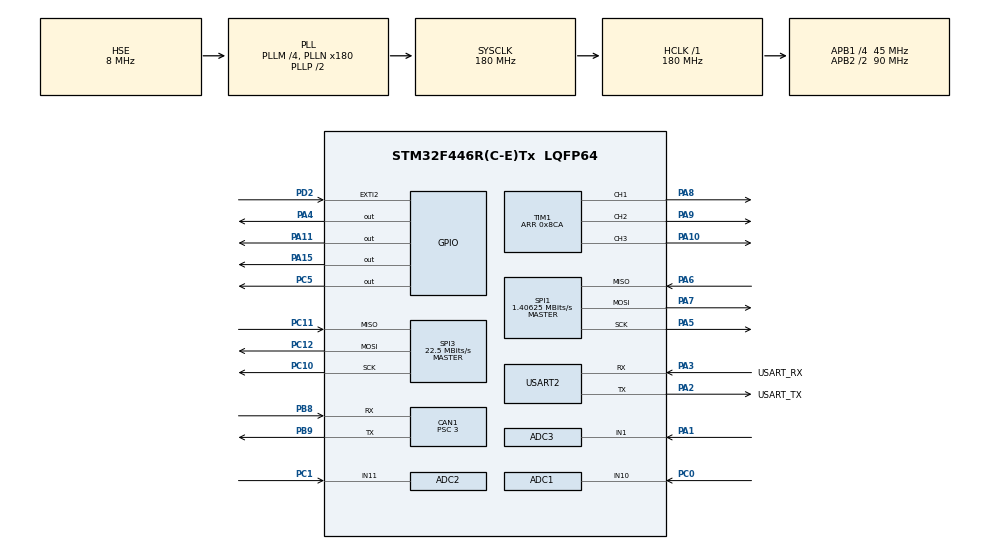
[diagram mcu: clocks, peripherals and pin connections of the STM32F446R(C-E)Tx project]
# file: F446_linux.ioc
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ADC1.Channel-0\#ChannelRegularConversion=ADC_CHANNEL_10
ADC1.Mode=ADC_TRIPLEMODE_REGSIMULT
ADC1.NbrOfConversionFlag=1
ADC1.Rank-0\#ChannelRegularConversion=1
ADC1.SamplingTime-0\#ChannelRegularConversion=ADC_SAMPLETIME_3CYCLES
ADC1.master=1
ADC2.Channel-0\#ChannelRegularConversion=ADC_CHANNEL_11
ADC2.Mode=ADC_TRIPLEMODE_REGSIMULT
ADC2.NbrOfConversionFlag=1
ADC2.Rank-0\#ChannelRegularConversion=1
ADC2.SamplingTime-0\#ChannelRegularConversion=ADC_SAMPLETIME_3CYCLES
ADC3.Channel-4\#ChannelRegularConversion=ADC_CHANNEL_1
ADC3.NbrOfConversionFlag=1
ADC3.Rank-4\#ChannelRegularConversion=1
ADC3.SamplingTime-4\#ChannelRegularConversion=ADC_SAMPLETIME_3CYCLES
CAN1.BS1=CAN_BS1_12TQ
CAN1.BS2=CAN_BS2_2TQ
CAN1.CalculateBaudRate=1000000
CAN1.CalculateTimeBit=1000
CAN1.CalculateTimeQuantum=66.66666666666666
CAN1.Mode=CAN_MODE_NORMAL
CAN1.Prescaler=3
Mcu.Family=STM32F4
Mcu.Name=STM32F446R(C-E)Tx
Mcu.Package=LQFP64
NVIC.CAN1_RX0_IRQn=true\:0\:0\:false\:false\:true\:true\:true\:true
NVIC.CAN1_RX1_IRQn=true\:0\:0\:false\:false\:true\:true\:true\:true
NVIC.EXTI2_IRQn=true\:0\:0\:false\:false\:true\:true\:true\:true
NVIC.PriorityGroup=NVIC_PRIORITYGROUP_4
NVIC.TIM1_UP_TIM10_IRQn=true\:0\:0\:false\:false\:true\:true\:true\:true
NVIC.USART2_IRQn=true\:0\:0\:false\:false\:true\:true\:true\:true
PA1.Signal=ADCx_IN1
PA10.GPIO_Speed=GPIO_SPEED_FREQ_VERY_HIGH
PA10.Signal=S_TIM1_CH3
PA11.GPIO_Speed=GPIO_SPEED_FREQ_VERY_HIGH
PA11.Signal=GPIO_Output
PA13.GPIO_Label=TMS
PA13.Mode=Serial_Wire
PA13.Signal=SYS_JTMS-SWDIO
PA14.GPIO_Label=TCK
PA14.Mode=Serial_Wire
PA14.Signal=SYS_JTCK-SWCLK
PA15.GPIO_Speed=GPIO_SPEED_FREQ_VERY_HIGH
PA15.Signal=GPIO_Output
PA2.GPIO_Label=USART_TX
PA2.Mode=Asynchronous
PA2.Signal=USART2_TX
PA3.GPIO_Label=USART_RX
PA3.Mode=Asynchronous
PA3.Signal=USART2_RX
PA4.GPIO_Speed=GPIO_SPEED_FREQ_VERY_HIGH
PA4.Signal=GPIO_Output
PA5.Mode=Full_Duplex_Master
PA5.Signal=SPI1_SCK
PA6.Mode=Full_Duplex_Master
PA6.Signal=SPI1_MISO
PA7.Mode=Full_Duplex_Master
PA7.Signal=SPI1_MOSI
PA8.GPIO_Speed=GPIO_SPEED_FREQ_VERY_HIGH
PA8.Signal=S_TIM1_CH1
PA9.GPIO_Speed=GPIO_SPEED_FREQ_VERY_HIGH
PA9.Signal=S_TIM1_CH2
PB8.Mode=CAN_Activate
PB8.Signal=CAN1_RX
PB9.Mode=CAN_Activate
PB9.Signal=CAN1_TX
PC0.Signal=ADCx_IN10
PC1.Signal=ADCx_IN11
PC10.Mode=Full_Duplex_Master
PC10.Signal=SPI3_SCK
PC11.Mode=Full_Duplex_Master
PC11.Signal=SPI3_MISO
PC12.Mode=Full_Duplex_Master
PC12.Signal=SPI3_MOSI
PC5.GPIO_Speed=GPIO_SPEED_FREQ_VERY_HIGH
PC5.Signal=GPIO_Output
PD2.GPIO_ModeDefaultEXTI=GPIO_MODE_IT_FALLING
PD2.GPIO_PuPd=GPIO_PULLUP
PD2.Signal=GPXTI2
PH0-OSC_IN.Mode=HSE-External-Oscillator
PH0-OSC_IN.Signal=RCC_OSC_IN
PH1-OSC_OUT.Mode=HSE-External-Oscillator
PH1-OSC_OUT.Signal=RCC_OSC_OUT
ProjectManager.HeapSize=0x200
ProjectManager.StackSize=0x400
ProjectManager.TargetToolchain=CMake
RCC.AHBFreq_Value=180000000
RCC.APB1CLKDivider=RCC_HCLK_DIV4
RCC.APB1Freq_Value=45000000
RCC.APB1TimFreq_Value=90000000
RCC.APB2CLKDivider=RCC_HCLK_DIV2
RCC.APB2Freq_Value=90000000
RCC.APB2TimFreq_Value=180000000
RCC.CortexFreq_Value=180000000
RCC.HCLKFreq_Value=180000000
RCC.HSE_VALUE=8000000
RCC.PLLM=4
RCC.PLLN=180
RCC.PLLSourceVirtual=RCC_PLLSOURCE_HSE
RCC.SYSCLKFreq_VALUE=180000000
RCC.SYSCLKSource=RCC_SYSCLKSOURCE_PLLCLK
RCC.USBFreq_Value=180000000
RCC.VCOOutputFreq_Value=360000000
SH.ADCx_IN1.0=ADC3_IN1,IN1
SH.ADCx_IN10.0=ADC1_IN10,IN10
SH.ADCx_IN11.0=ADC2_IN11,IN11
SH.S_TIM1_CH1.0=TIM1_CH1,PWM Generation1 CH1
SH.S_TIM1_CH2.0=TIM1_CH2,PWM Generation2 CH2
SH.S_TIM1_CH3.0=TIM1_CH3,PWM Generation3 CH3
SPI1.BaudRatePrescaler=SPI_BAUDRATEPRESCALER_64
SPI1.CLKPhase=SPI_PHASE_2EDGE
SPI1.CalculateBaudRate=1.40625 MBits/s
SPI1.DataSize=SPI_DATASIZE_16BIT
SPI1.Direction=SPI_DIRECTION_2LINES
SPI1.Mode=SPI_MODE_MASTER
SPI1.VirtualType=VM_MASTER
SPI3.CalculateBaudRate=22.5 MBits/s
SPI3.DataSize=SPI_DATASIZE_16BIT
SPI3.Direction=SPI_DIRECTION_2LINES
SPI3.Mode=SPI_MODE_MASTER
SPI3.VirtualType=VM_MASTER
TIM1.AutoReloadPreload=TIM_AUTORELOAD_PRELOAD_ENABLE
TIM1.Channel-PWM\ Generation1\ CH1=TIM_CHANNEL_1
TIM1.Channel-PWM\ Generation2\ CH2=TIM_CHANNEL_2
TIM1.Channel-PWM\ Generation3\ CH3=TIM_CHANNEL_3
TIM1.CounterMode=TIM_COUNTERMODE_CENTERALIGNED1
TIM1.OCFastMode_PWM-PWM\ Generation1\ CH1=TIM_OCFAST_ENABLE
TIM1.OCFastMode_PWM-PWM\ Generation2\ CH2=TIM_OCFAST_ENABLE
TIM1.OCFastMode_PWM-PWM\ Generation3\ CH3=TIM_OCFAST_ENABLE
TIM1.OCPolarity_1=TIM_OCPOLARITY_LOW
TIM1.OCPolarity_2=TIM_OCPOLARITY_LOW
TIM1.OCPolarity_3=TIM_OCPOLARITY_LOW
TIM1.Period=0x8CA
TIM1.RepetitionCounter=1
USART2.VirtualMode=VM_ASYNC
VP_TIM1_VS_ClockSourceINT.Mode=Internal
board=custom

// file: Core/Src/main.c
/* USER CODE BEGIN Header */
/**
  ******************************************************************************
  * @file           : main.c
  * @brief          : Simple button press sends CAN message to computer
  ******************************************************************************
  */
/* USER CODE END Header */
#include "main.h"
#include "adc.h"
#include "can.h"
#include "spi.h"
#include "tim.h"
#include "usart.h"
#include "gpio.h"

/* USER CODE BEGIN Includes */
#include "structs.h"
#include <stdio.h>
#include <string.h>

#include "stm32f4xx_flash.h"
#include "flash_writer.h"
#include "position_sensor.h"
#include "preference_writer.h"
#include "hw_config.h"
#include "user_config.h"
#include "fsm.h"
#include "drv8353.h"
#include "foc.h"
#include "math_ops.h"
#include "calibration.h"
/* USER CODE END Includes */

/* USER CODE BEGIN PM */
#define VERSION_NUM 2.0f
/* USER CODE END PM */

/* USER CODE BEGIN PV */
/* Flash Registers */
float __float_reg[64];
int __int_reg[256];
PreferenceWriter prefs;

ControllerStruct controller;
ObserverStruct observer;
COMStruct com;
FSMStruct state;
EncoderStruct comm_encoder;
DRVStruct drv;
CalStruct comm_encoder_cal;
CANTxMessage can_tx;
CANRxMessage can_rx;

/* init but don't allocate calibration arrays */
int *error_array = NULL;
int *lut_array = NULL;

uint8_t Serial2RxBuffer[1];

/* USER CODE END PV */

void SystemClock_Config(void);

int main(void)
{

  /* MCU Configuration--------------------------------------------------------*/

  /* Reset of all peripherals, Initializes the Flash interface and the Systick. */
  HAL_Init();

  /* Configure the system clock */
  SystemClock_Config();

  /* Initialize all configured peripherals */
  MX_GPIO_Init();
  MX_USART2_UART_Init();
  MX_SPI3_Init();
  MX_CAN1_Init();
  MX_ADC1_Init();
  MX_ADC2_Init();
  MX_ADC3_Init();
  MX_SPI1_Init();
  MX_TIM1_Init();
  /* USER CODE BEGIN 2 */

  /* Load settings from flash */
  preference_writer_init(&prefs, 6);
  preference_writer_load(prefs);

  /* Sanitize configs in case flash is empty*/
  if(E_ZERO==-1){E_ZERO = 0;}
  if(M_ZERO==-1){M_ZERO = 0;}
  if(isnan(I_BW) || I_BW==-1){I_BW = 1000;}
  if(isnan(I_MAX) || I_MAX ==-1){I_MAX=40;}
  if(isnan(I_FW_MAX) || I_FW_MAX ==-1){I_FW_MAX=0;}
  if(CAN_ID==-1){CAN_ID = 1;}
  if(CAN_MASTER==-1){CAN_MASTER = 0;}
  if(CAN_TIMEOUT==-1){CAN_TIMEOUT = 1000;}
  if(isnan(R_NOMINAL) || R_NOMINAL==-1){R_NOMINAL = 0.0f;}
  if(isnan(TEMP_MAX) || TEMP_MAX==-1){TEMP_MAX = 125.0f;}
  if(isnan(I_MAX_CONT) || I_MAX_CONT==-1){I_MAX_CONT = 14.0f;}
  if(isnan(I_CAL)||I_CAL==-1){I_CAL = 2.0f;}
  I_CAL=5.0f;
  if(isnan(PPAIRS) || PPAIRS==-1){PPAIRS = 21.0f;}
  if(isnan(GR) || GR==-1){GR = 1.0f;}
  if(isnan(KT) || KT==-1){KT = 1.0f;}
  if(isnan(KP_MAX) || KP_MAX==-1){KP_MAX = 500.0f;}
  if(isnan(KD_MAX) || KD_MAX==-1){KD_MAX = 5.0f;}
  if(isnan(P_MAX)){P_MAX = 12.5f;}
  if(isnan(P_MIN)){P_MIN = -12.5f;}
  if(isnan(V_MAX)){V_MAX = 65.0f;}
  if(isnan(V_MIN)){V_MIN = -65.0f;}

  printf("\r\nFirmware Version Number: %.2f\r\n", VERSION_NUM);

  init_controller_params(&controller);
  /* calibration "encoder" zeroing */
  memset(&comm_encoder_cal.cal_position, 0, sizeof(EncoderStruct));

  /* commutation encoder setup */
  comm_encoder.m_zero = M_ZERO;
  comm_encoder.e_zero = E_ZERO;
  comm_encoder.ppairs = PPAIRS;

  if(EN_ENC_LINEARIZATION){memcpy(&comm_encoder.offset_lut, &ENCODER_LUT, sizeof(comm_encoder.offset_lut));}	// Copy the linearization lookup table
  else{memset(&comm_encoder.offset_lut, 0, sizeof(comm_encoder.offset_lut));}
  ps_warmup(&comm_encoder, 100);			// clear the noisy data when the encoder first turns on

  /* Turn on ADCs */
  HAL_ADC_Start(&hadc1);
  HAL_ADC_Start(&hadc2);
  HAL_ADC_Start(&hadc3);

  /* DRV8323 setup */
  HAL_GPIO_WritePin(DRV_CS, GPIO_PIN_SET ); 	// CS high
  HAL_GPIO_WritePin(ENABLE_PIN, GPIO_PIN_SET );
  HAL_Delay(1);
  drv_write_DCR(drv, 0x0, DIS_GDF_EN, 0x0, PWM_MODE_3X, 0x0, 0x0, 0x0, 0x0, 0x1);
  HAL_Delay(1);
  drv_write_HSR(drv, LOCK_OFF, IDRIVEP_HS_300MA, IDRIVEN_HS_200MA);
  HAL_Delay(1);
  drv_write_LSR(drv, 1, TDRIVE_1000NS, IDRIVEP_LS_850MA, IDRIVEN_LS_600MA);
  HAL_Delay(1);
  int CSA_GAIN;
  if(I_MAX <= 40.0f){CSA_GAIN = CSA_GAIN_40;}	// Up to 40A use 40X amplifier gain
  else{CSA_GAIN = CSA_GAIN_20;}					// From 40-60A use 20X amplifier gain.  (Make this generic in the future)
//  drv_write_CSACR(drv, 0x0, 0x1, 0x0, CSA_GAIN_40, 0x0, 0x1, 0x1, 0x1, SEN_LVL_0_25);
  drv_write_CSACR(drv, 0x0, 0x1, 0x0, CSA_GAIN, 0x1, 0x0, 0x0, 0x0, SEN_LVL_0_5);
  HAL_Delay(1);
  zero_current(&controller);
  HAL_Delay(1);
  drv_write_OCPCR(drv, TRETRY_8MS, DEADTIME_50NS, OCP_LATCH, OCP_DEG_4US, VDS_LVL_0_7);
  HAL_Delay(1);
  drv_disable_gd(drv);
  HAL_Delay(1);
  printf("ADC A OFFSET: %d     ADC B OFFSET: %d\r\n", controller.adc_a_offset, controller.adc_b_offset);

  /* Turn on PWM */
  HAL_TIM_PWM_Start(&htim1, TIM_CHANNEL_1);
  HAL_TIM_PWM_Start(&htim1, TIM_CHANNEL_2);
  HAL_TIM_PWM_Start(&htim1, TIM_CHANNEL_3);

  /* CAN setup */
  can_rx_init(&can_rx);
  can_tx_init(&can_tx);
  HAL_CAN_Start(&CAN_H); //  Start CAN peripheral

  /* Set Interrupt Priorities */
  HAL_NVIC_SetPriority(PWM_ISR, 0x0,0x0); // commutation > communication
  HAL_NVIC_SetPriority(CAN_ISR, 0x01, 0x01);

  uint16_t value1 = drv_read_register(drv, DCR);

  /* Start the FSM */
  state.state = MENU_MODE;
  state.next_state = MENU_MODE;
  state.ready = 1;

  /* Turn on interrupts */
  HAL_UART_Receive_IT(&huart2, (uint8_t *)Serial2RxBuffer, 1);
  HAL_TIM_Base_Start_IT(&htim1);

  /* USER CODE END 2 */

  /* Infinite loop */
  /* USER CODE BEGIN WHILE */
  drv_enable_gd(drv);
  uint16_t angle_reading;
  while (1)
  {
	  HAL_Delay(100);
	  drv_print_faults(drv);
//	  angle_reading = (uint16_t)comm_encoder.angle_singleturn;
//	  printf("angle: %d\r\n", angle_reading);
//	  printf("%.3f\n\r", controller.dtheta_mech);
    /* USER CODE END WHILE */

    /* USER CODE BEGIN 3 */

    // Main loop does nothing - everything happens in button interrupt

  }
  /* USER CODE END 3 */
}

void SystemClock_Config(void)
{
  RCC_OscInitTypeDef RCC_OscInitStruct = {0};
  RCC_ClkInitTypeDef RCC_ClkInitStruct = {0};

  /** Configure the main internal regulator output voltage
  */
  __HAL_RCC_PWR_CLK_ENABLE();
  __HAL_PWR_VOLTAGESCALING_CONFIG(PWR_REGULATOR_VOLTAGE_SCALE1);

  /** Initializes the RCC Oscillators according to the specified parameters
  * in the RCC_OscInitTypeDef structure.
  */
  RCC_OscInitStruct.OscillatorType = RCC_OSCILLATORTYPE_HSE;
  RCC_OscInitStruct.HSEState = RCC_HSE_ON;
  RCC_OscInitStruct.PLL.PLLState = RCC_PLL_ON;
  RCC_OscInitStruct.PLL.PLLSource = RCC_PLLSOURCE_HSE;
  RCC_OscInitStruct.PLL.PLLM = 4;
  RCC_OscInitStruct.PLL.PLLN = 180;
  RCC_OscInitStruct.PLL.PLLP = RCC_PLLP_DIV2;
  RCC_OscInitStruct.PLL.PLLQ = 2;
  RCC_OscInitStruct.PLL.PLLR = 2;
  if (HAL_RCC_OscConfig(&RCC_OscInitStruct) != HAL_OK)
  {
    Error_Handler();
  }

  /** Activate the Over-Drive mode
  */
  if (HAL_PWREx_EnableOverDrive() != HAL_OK)
  {
    Error_Handler();
  }

  /** Initializes the CPU, AHB and APB buses clocks
  */
  RCC_ClkInitStruct.ClockType = RCC_CLOCKTYPE_HCLK|RCC_CLOCKTYPE_SYSCLK
                              |RCC_CLOCKTYPE_PCLK1|RCC_CLOCKTYPE_PCLK2;
  RCC_ClkInitStruct.SYSCLKSource = RCC_SYSCLKSOURCE_PLLCLK;
  RCC_ClkInitStruct.AHBCLKDivider = RCC_SYSCLK_DIV1;
  RCC_ClkInitStruct.APB1CLKDivider = RCC_HCLK_DIV4;
  RCC_ClkInitStruct.APB2CLKDivider = RCC_HCLK_DIV2;

  if (HAL_RCC_ClockConfig(&RCC_ClkInitStruct, FLASH_LATENCY_5) != HAL_OK)
  {
    Error_Handler();
  }
}

void Error_Handler(void)
{
  __disable_irq();
  while (1)
  {
  }
}
